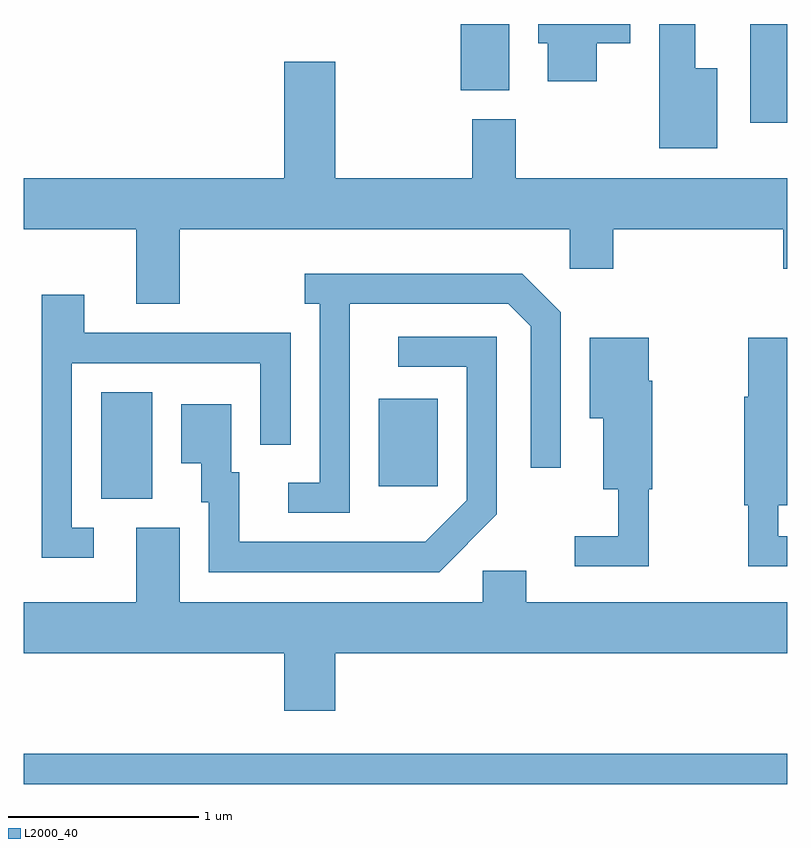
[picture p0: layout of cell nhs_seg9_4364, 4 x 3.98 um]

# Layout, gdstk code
import gdstk
lib = gdstk.Library(unit=1e-6, precision=1e-09)
def R(c, l, rs):  # rectangles x0, y0, x1, y1
    for r in rs: c.add(gdstk.rectangle(r[:2], r[2:], *l))
def P(c, l, *ps):  # polygons
    for p in ps: c.add(gdstk.Polygon(p, *l))
L2000_40 = (2000, 40)

nhs_seg9_4364 = lib.new_cell('nhs_seg9_4364')
R(nhs_seg9_4364, L2000_40, [(313.611,2004.451,317.611,2004.609), (314.016,2005.946,314.284,2006.504), (315.471,2006.011,315.779,2006.469), (317.416,2007.916,317.611,2008.432), (315.901,2008.086,316.154,2008.432), (313.611,2008.431,313.944,2008.432)])
P(nhs_seg9_4364, L2000_40, [(317.244,2008.199),(317.129,2008.199),(317.129,2008.432),(316.941,2008.432),(316.941,2007.781),(317.244,2007.781)],
  [(316.614,2008.331),(316.789,2008.331),(316.789,2008.432),(316.306,2008.432),(316.306,2008.331),(316.356,2008.331),(316.356,2008.131),(316.614,2008.131)],
  [(314.429,2007.356),(316.471,2007.356),(316.471,2007.151),(316.699,2007.151),(316.699,2007.356),(317.591,2007.356),(317.591,2007.151),(317.611,2007.151),(317.611,2007.624),(316.189,2007.624),(316.189,2007.934),(315.961,2007.934),(315.961,2007.624),(315.244,2007.624),(315.244,2008.234),(314.976,2008.234),(314.976,2007.624),(313.611,2007.624),(313.611,2007.356),(314.201,2007.356),(314.201,2006.966),(314.429,2006.966)],
  [(315.319,2006.966),(316.149,2006.966),(316.266,2006.849),(316.266,2006.108),(316.424,2006.108),(316.424,2006.922),(316.222,2007.124),(315.083,2007.124),(315.083,2006.966),(315.161,2006.966),(315.161,2006.029),(314.998,2006.029),(314.998,2005.871),(315.319,2005.871)],
  [(313.978,2005.794),(313.864,2005.794),(313.864,2006.656),(314.851,2006.656),(314.851,2006.228),(315.009,2006.228),(315.009,2006.814),(313.929,2006.814),(313.929,2007.014),(313.706,2007.014),(313.706,2005.636),(313.978,2005.636)],
  [(316.089,2005.864),(316.089,2006.794),(315.573,2006.794),(315.573,2006.636),(315.931,2006.636),(315.931,2005.937),(315.714,2005.719),(314.739,2005.719),(314.739,2006.084),(314.699,2006.084),(314.699,2006.439),(314.436,2006.439),(314.436,2006.131),(314.541,2006.131),(314.541,2005.926),(314.581,2005.926),(314.581,2005.561),(315.787,2005.561)],
  [(316.884,2005.996),(316.904,2005.996),(316.904,2006.564),(316.884,2006.564),(316.884,2006.789),(316.576,2006.789),(316.576,2006.366),(316.646,2006.366),(316.646,2005.996),(316.726,2005.996),(316.726,2005.749),(316.498,2005.749),(316.498,2005.591),(316.884,2005.591)],
  [(317.611,2005.749),(317.564,2005.749),(317.564,2005.911),(317.611,2005.911),(317.611,2006.789),(317.406,2006.789),(317.406,2006.479),(317.386,2006.479),(317.386,2005.911),(317.406,2005.911),(317.406,2005.591),(317.611,2005.591)],
  [(315.244,2005.136),(317.611,2005.136),(317.611,2005.404),(316.244,2005.404),(316.244,2005.569),(316.016,2005.569),(316.016,2005.404),(314.429,2005.404),(314.429,2005.794),(314.201,2005.794),(314.201,2005.404),(313.611,2005.404),(313.611,2005.136),(314.976,2005.136),(314.976,2004.836),(315.244,2004.836)])

lib.write_gds('nhs_seg9_4364.gds')
